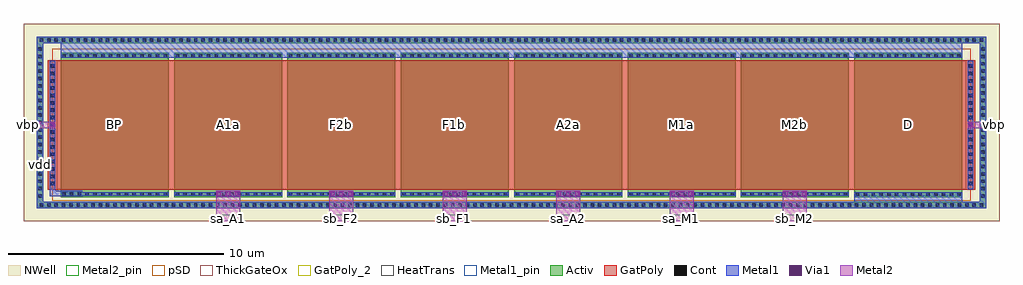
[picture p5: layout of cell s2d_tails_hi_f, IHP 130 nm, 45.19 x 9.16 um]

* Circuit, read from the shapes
.subckt s2d_tails_hi_f sa_A1 sa_A2 sa_M1 sb_F1 sb_F2 sb_M2 vbp vdd
XM1 vdd vbp vbp vdd sg13_hv_pmos w=5u l=6u
XM2 vdd vbp sa_A1 vdd sg13_hv_pmos w=5u l=6u
XM3 vdd vbp sb_F2 vdd sg13_hv_pmos w=5u l=6u
XM4 vdd vbp sb_F1 vdd sg13_hv_pmos w=5u l=6u
XM5 vdd vbp sa_A2 vdd sg13_hv_pmos w=5u l=6u
XM6 vdd vbp sa_M1 vdd sg13_hv_pmos w=5u l=6u
XM7 vdd vbp sb_M2 vdd sg13_hv_pmos w=5u l=6u
XM8 vdd vbp vdd vdd sg13_hv_pmos w=5u l=6u
.ends

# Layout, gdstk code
from math import pi, radians
import gdstk
lib = gdstk.Library(unit=1e-6, precision=1e-09)
def R(c, l, rs):  # rectangles x0, y0, x1, y1
    for r in rs: c.add(gdstk.rectangle(r[:2], r[2:], *l))
def A(c, l, x, y, w, h, nx, ny, dx, dy):  # array of equal rectangles
    R(c, l, [(x+i*dx, y+j*dy, x+i*dx+w, y+j*dy+h) for i in range(nx) for j in range(ny)])
Activ = (1, 0)
GatPoly = (5, 0)
GatPoly_2 = (5, 2)
Cont = (6, 0)
Metal1 = (8, 0)
Metal1_pin = (8, 2)
Metal2 = (10, 0)
Metal2_pin = (10, 2)
pSD = (14, 0)
Via1 = (19, 0)
NWell = (31, 0)
ThickGateOx = (44, 0)
HeatTrans = (51, 0)

pmoshv_w5_l6_1 = lib.new_cell('pmosHV_w5_l6$1')
R(pmoshv_w5_l6_1, Activ, [(0,0,0.3,0.3), (0,0,6.68,5), (6.38,0,6.68,0.3)])
R(pmoshv_w5_l6_1, GatPoly, [(0.34,-0.18,6.34,5.18)])
R(pmoshv_w5_l6_1, GatPoly_2, [(0.34,-0.18,6.34,5.18)])
A(pmoshv_w5_l6_1, Cont, 0.07, 0.07, 0.16, 0.16, 1, 4, 0, 0.36)
A(pmoshv_w5_l6_1, Cont, 6.45, 0.07, 0.16, 0.16, 1, 4, 0, 0.36)
A(pmoshv_w5_l6_1, Cont, 0.07, 1.515, 0.16, 0.16, 1, 3, 0, 0.36)
A(pmoshv_w5_l6_1, Cont, 6.45, 1.515, 0.16, 0.16, 1, 3, 0, 0.36)
A(pmoshv_w5_l6_1, Cont, 0.07, 2.6, 0.16, 0.16, 1, 3, 0, 0.36)
A(pmoshv_w5_l6_1, Cont, 6.45, 2.6, 0.16, 0.16, 1, 3, 0, 0.36)
A(pmoshv_w5_l6_1, Cont, 0.07, 3.685, 0.16, 0.16, 1, 3, 0, 0.36)
A(pmoshv_w5_l6_1, Cont, 6.45, 3.685, 0.16, 0.16, 1, 3, 0, 0.36)
R(pmoshv_w5_l6_1, Cont, [(0.07,4.77,0.23,4.93), (6.45,4.77,6.61,4.93)])
R(pmoshv_w5_l6_1, Metal1, [(0.07,0,0.23,5), (6.45,0,6.61,5)])
R(pmoshv_w5_l6_1, Metal1_pin, [(0.07,0,0.23,5), (6.45,0,6.61,5)])
R(pmoshv_w5_l6_1, pSD, [(-0.18,-0.4,6.86,5.4)])
R(pmoshv_w5_l6_1, NWell, [(-0.62,-0.62,7.3,5.62)])
R(pmoshv_w5_l6_1, ThickGateOx, [(-0.62,-0.62,7.3,5.62)])
R(pmoshv_w5_l6_1, HeatTrans, [(0.34,-0.18,6.34,5.18)])
pmoshv_w5_l6_1.add(gdstk.Label('pmosHV', (3.34,2.5), layer=63, texttype=0))
pmoshv_w5_l6_1.add(gdstk.Label('pmos', (3.34,2.5), layer=51, texttype=0))

s2d_tails_hi_f = lib.new_cell('s2d_tails_hi_f')
R(s2d_tails_hi_f, Activ, [(0.62,0.62,44.57,0.92), (0.62,0.92,0.92,8.24), (44.27,0.92,44.57,8.24), (0.62,8.24,44.57,8.54)])
R(s2d_tails_hi_f, GatPoly, [(1.12,1.47,1.72,7.47), (43.47,1.47,44.07,7.47)])
A(s2d_tails_hi_f, Cont, 0.755, 0.69, 0.16, 0.16, 129, 2, 0.34, 7.62)
A(s2d_tails_hi_f, Cont, 0.69, 1.1, 0.16, 0.16, 1, 21, 0, 0.34)
A(s2d_tails_hi_f, Cont, 44.34, 1.1, 0.16, 0.16, 1, 21, 0, 0.34)
A(s2d_tails_hi_f, Cont, 1.26, 1.67, 0.16, 0.16, 1, 17, 0, 0.34)
A(s2d_tails_hi_f, Cont, 43.77, 1.67, 0.16, 0.16, 1, 17, 0, 0.34)
A(s2d_tails_hi_f, Metal1, 8.915, 1.14, 1.11, 0.29, 6, 1, 5.25, 0)
R(s2d_tails_hi_f, Metal1, [(0.62,0.62,44.57,0.92), (0.62,0.92,0.92,8.24), (38.47,0.92,43.47,1.36), (44.27,0.92,44.57,8.24), (1.21,1.16,1.47,1.5), (1.21,1.16,2.72,1.42), (1.21,1.49,1.47,7.45), (43.72,1.49,43.98,7.45), (1.72,7.58,43.47,8.54), (0.62,8.24,44.57,8.54)])
R(s2d_tails_hi_f, Metal1_pin, [(0.62,1.63,0.92,3.63)])
A(s2d_tails_hi_f, Metal2, 8.915, 0, 1.11, 1.43, 6, 1, 5.25, 0)
R(s2d_tails_hi_f, Metal2, [(0,4.32,1.47,4.62), (43.72,4.32,45.19,4.62)])
A(s2d_tails_hi_f, Metal2_pin, 8.915, 0, 1.11, 0.3, 6, 1, 5.25, 0)
R(s2d_tails_hi_f, Metal2_pin, [(0,4.32,0.5,4.62), (44.69,4.32,45.19,4.62)])
A(s2d_tails_hi_f, Via1, 8.965, 1.19, 0.19, 0.19, 3, 1, 0.41, 0)
A(s2d_tails_hi_f, Via1, 14.215, 1.19, 0.19, 0.19, 3, 1, 0.41, 0)
A(s2d_tails_hi_f, Via1, 19.465, 1.19, 0.19, 0.19, 3, 1, 0.41, 0)
A(s2d_tails_hi_f, Via1, 24.715, 1.19, 0.19, 0.19, 3, 1, 0.41, 0)
A(s2d_tails_hi_f, Via1, 29.965, 1.19, 0.19, 0.19, 3, 1, 0.41, 0)
A(s2d_tails_hi_f, Via1, 35.215, 1.19, 0.19, 0.19, 3, 1, 0.41, 0)
R(s2d_tails_hi_f, Via1, [(1.245,4.375,1.435,4.565), (43.755,4.375,43.945,4.565)])
R(s2d_tails_hi_f, NWell, [(0,0,45.19,9.16)])
R(s2d_tails_hi_f, ThickGateOx, [(0,0,45.19,9.16)])
s2d_tails_hi_f.add(gdstk.Reference(pmoshv_w5_l6_1, (1.72,7.81), rotation=3*pi/2))
s2d_tails_hi_f.add(gdstk.Reference(pmoshv_w5_l6_1, (6.97,7.81), rotation=3*pi/2))
s2d_tails_hi_f.add(gdstk.Reference(pmoshv_w5_l6_1, (12.22,7.81), rotation=3*pi/2))
s2d_tails_hi_f.add(gdstk.Reference(pmoshv_w5_l6_1, (17.47,7.81), rotation=3*pi/2))
s2d_tails_hi_f.add(gdstk.Reference(pmoshv_w5_l6_1, (27.72,7.81), rotation=3*pi/2, x_reflection=True))
s2d_tails_hi_f.add(gdstk.Reference(pmoshv_w5_l6_1, (32.97,7.81), rotation=3*pi/2, x_reflection=True))
s2d_tails_hi_f.add(gdstk.Reference(pmoshv_w5_l6_1, (38.22,7.81), rotation=3*pi/2, x_reflection=True))
s2d_tails_hi_f.add(gdstk.Reference(pmoshv_w5_l6_1, (43.47,7.81), rotation=3*pi/2, x_reflection=True))
s2d_tails_hi_f.add(gdstk.Label('BP', (4.22,4.47), layer=63, texttype=0))
s2d_tails_hi_f.add(gdstk.Label('A1a', (9.47,4.47), layer=63, texttype=0))
s2d_tails_hi_f.add(gdstk.Label('F2b', (14.72,4.47), layer=63, texttype=0))
s2d_tails_hi_f.add(gdstk.Label('F1b', (19.97,4.47), layer=63, texttype=0))
s2d_tails_hi_f.add(gdstk.Label('A2a', (25.22,4.47), layer=63, texttype=0))
s2d_tails_hi_f.add(gdstk.Label('M1a', (30.47,4.47), layer=63, texttype=0))
s2d_tails_hi_f.add(gdstk.Label('M2b', (35.72,4.47), layer=63, texttype=0))
s2d_tails_hi_f.add(gdstk.Label('D', (40.97,4.47), layer=63, texttype=0))
s2d_tails_hi_f.add(gdstk.Label('vdd', (0.77,2.63), layer=8, texttype=25))
s2d_tails_hi_f.add(gdstk.Label('sa_A1', (9.47,0.15), layer=10, texttype=25))
s2d_tails_hi_f.add(gdstk.Label('sb_F2', (14.72,0.15), layer=10, texttype=25))
s2d_tails_hi_f.add(gdstk.Label('sb_F1', (19.97,0.15), layer=10, texttype=25))
s2d_tails_hi_f.add(gdstk.Label('sa_A2', (25.22,0.15), layer=10, texttype=25))
s2d_tails_hi_f.add(gdstk.Label('sa_M1', (30.47,0.15), layer=10, texttype=25))
s2d_tails_hi_f.add(gdstk.Label('sb_M2', (35.72,0.15), layer=10, texttype=25))
s2d_tails_hi_f.add(gdstk.Label('vbp', (0.25,4.47), layer=10, texttype=25))
s2d_tails_hi_f.add(gdstk.Label('vbp', (44.94,4.47), layer=10, texttype=25))

lib.write_gds('s2d_tails_hi_f.gds')
